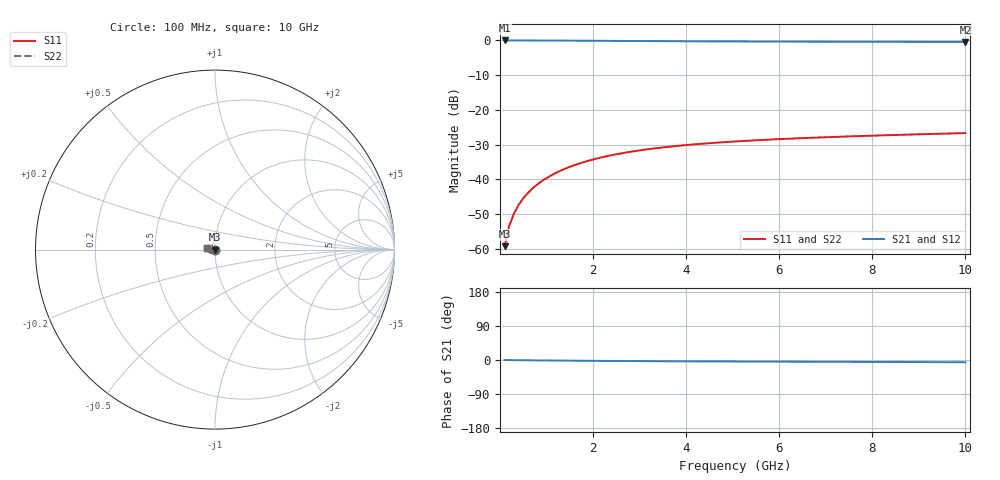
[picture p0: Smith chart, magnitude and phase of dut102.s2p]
! Touchstone file exported from HFSS 2024.1.0
!  File:  C:/UserFiles/LocalFiles/RDL_TSV_Batchsim/temp_TSV1_102_1779377130.aedt
!  Generated:  11:31:15 PM May 21, 2026
!  Design:  TSV1
!  Project:  temp_TSV1_102_1779377130
!  Setup:  Setup1
!  Solution:  Sweep
! Variables:
!  dtsv = 7.8um
!  hbump = 3um
!  htsv = 93.63um
!  lrdl = 252.1521522um
!  p = 40
!  p1 = 45.86um
!  t = 500um
!  trdl = 3um
!  wrdl = 24.89489489um
# GHz S MA R 50.000000
! Terminal data exported
! Port[1] = TSV22_T1
! Port[2] = TSV22_T2
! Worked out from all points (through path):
!   100 points, 100 MHz to 10 GHz, reference 50 ohm
!   highest |S21| = 0.00 dB at 100 MHz (marker M1); lowest = -0.4 dB at 10 GHz (marker M2)
!   lowest |S11| = -59.2 dB at 100 MHz (marker M3), VSWR 1.00, Z = 50 - j0.107 ohm
!   |S11| at or under -10 dB: start of sweep to end of sweep
!   |S22| runs from -59.2 to -26.7 dB; largest |S21 - S12| = 9.3e-15
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0.1  0.001096 -77.9  0.9997 -0.1  0.9997 -0.1  0.001096 -77.9
! Gamma 0 0 0 0
! Port Impedance 50 0 50 0
0.2  0.002156 -86.3  0.9996 -0.3  0.9996 -0.3  0.002156 -86.3
0.3  0.003224 -90.4  0.9994 -0.4  0.9994 -0.4  0.003224 -90.4
0.4  0.004288 -93.3  0.9992 -0.5  0.9992 -0.5  0.004288 -93.3
0.5  0.005345 -95.8  0.9989 -0.6  0.9989 -0.6  0.005345 -95.8
0.6  0.006393 -98.1  0.9985 -0.7  0.9985 -0.7  0.006393 -98.1
0.7  0.00743 -100.1  0.9981 -0.9  0.9981 -0.9  0.00743 -100.1
0.8  0.008454 -102.1  0.9976 -1.0  0.9976 -1.0  0.008454 -102.1
0.9  0.009465 -104.0  0.9971 -1.1  0.9971 -1.1  0.009465 -104.0
1.1  0.01144 -107.7  0.9959 -1.3  0.9959 -1.3  0.01144 -107.7
1.4  0.01426 -112.9  0.9938 -1.6  0.9938 -1.6  0.01426 -112.9
1.6  0.01605 -116.2  0.9923 -1.8  0.9923 -1.8  0.01605 -116.2
1.8  0.01775 -119.4  0.9907 -2.0  0.9907 -2.0  0.01775 -119.4
2.1  0.02014 -123.9  0.9881 -2.3  0.9881 -2.3  0.02014 -123.9
2.5  0.02302 -129.6  0.9847 -2.6  0.9847 -2.6  0.02302 -129.6
2.9  0.02558 -134.9  0.9813 -2.9  0.9813 -2.9  0.02558 -134.9
3.4  0.02838 -141.0  0.9772 -3.2  0.9772 -3.2  0.02838 -141.0
4.2  0.03207 -149.6  0.9715 -3.6  0.9715 -3.6  0.03207 -149.6
5.1  0.03535 -158.0  0.9662 -4.0  0.9662 -4.0  0.03535 -158.0
6.7  0.03978 -170.3  0.9592 -4.7  0.9592 -4.7  0.03978 -170.3
8.4  0.04345 179.1  0.9542 -5.3  0.9542 -5.3  0.04345 179.1
10  0.04646 170.8  0.9508 -5.9  0.9508 -5.9  0.04646 170.8
